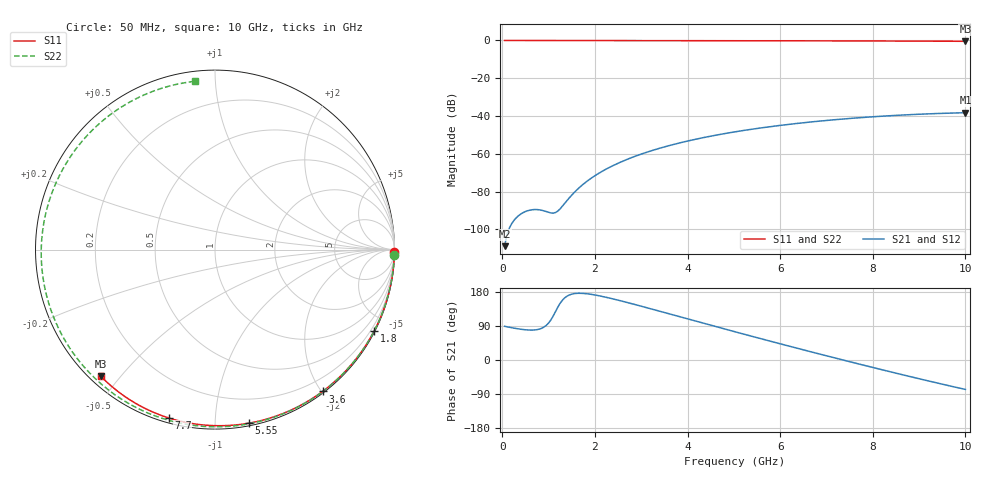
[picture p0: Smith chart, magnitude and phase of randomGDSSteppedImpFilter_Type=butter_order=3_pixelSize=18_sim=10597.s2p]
! freq	dB(S11)	phase(S11)	dB(S12)	phase(S12)
!  dB(S21)	phase(S21)	dB(S22)	phase(S22)
!S-par simulation data
#  GHz  S  DB  R 50
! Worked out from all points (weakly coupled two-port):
!   200 points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, 50 MHz to 10 GHz, reference 50 ohm
!   highest |S21| = -38.26 dB at 10 GHz (marker M1); lowest = -108.9 dB at 50 MHz (marker M2)
!   lowest |S11| = -0.4 dB at 10 GHz (marker M3), VSWR 39.10, Z = 1.53 - j22.3 ohm
!   |S11| at or under -10 dB: nowhere
!   |S22| runs from -0.5 to 0.0 dB; largest |S21 - S12| = 0
!   S11 on the Smith chart (normalised r, x): 50 MHz: open; 1.8 GHz: 0.04, -4.16; 3.6 GHz: 0.02, -2.01; 5.55 GHz: 0.02, -1.21; 7.7 GHz: 0.02, -0.76; 10 GHz: 0.03, -0.45
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0.05  -0.00 -0.8  -108.92 88.9  -108.92 88.9  -0.00 -1.7
0.4  -0.01 -6.1  -91.89 81.2  -91.89 81.2  -0.02 -13.7
0.75  -0.01 -11.4  -89.54 80.1  -89.54 80.1  -0.03 -25.6
1.15  -0.02 -17.4  -91.10 128.0  -91.10 128.0  -0.05 -38.9
1.55  -0.03 -23.3  -80.57 175.1  -80.57 175.1  -0.06 -51.8
1.75  -0.03 -26.3  -76.07 175.7  -76.07 175.7  -0.07 -58.1
1.8  -0.03 -27.0  -75.09 175.2  -75.09 175.2  -0.07 -59.6
2.1  -0.04 -31.4  -70.10 169.3  -70.10 169.3  -0.08 -68.8
2.5  -0.05 -37.2  -65.02 158.0  -65.02 158.0  -0.10 -80.6
2.95  -0.06 -43.7  -60.59 143.6  -60.59 143.6  -0.11 -93.4
3.4  -0.07 -50.1  -57.05 128.7  -57.05 128.7  -0.13 -105.6
3.6  -0.07 -52.9  -55.69 122.0  -55.69 122.0  -0.13 -110.8
4.35  -0.09 -63.1  -51.40 96.9  -51.40 96.9  -0.16 -129.7
5.05  -0.11 -72.5  -48.28 73.7  -48.28 73.7  -0.20 -146.3
5.55  -0.13 -78.9  -46.43 57.3  -46.43 57.3  -0.22 -157.9
6.1  -0.15 -85.9  -44.68 39.6  -44.68 39.6  -0.25 -170.3
6.7  -0.18 -93.4  -43.07 20.5  -43.07 20.5  -0.29 176.2
7.2  -0.21 -99.5  -41.92 4.9  -41.92 4.9  -0.33 164.9
7.7  -0.24 -105.4  -40.93 -10.6  -40.93 -10.6  -0.36 153.4
8.35  -0.29 -113.0  -39.87 -30.3  -39.87 -30.3  -0.40 138.2
9.2  -0.36 -122.8  -38.86 -55.2  -38.86 -55.2  -0.46 117.5
10  -0.44 -131.9  -38.26 -77.6  -38.26 -77.6  -0.50 96.9
